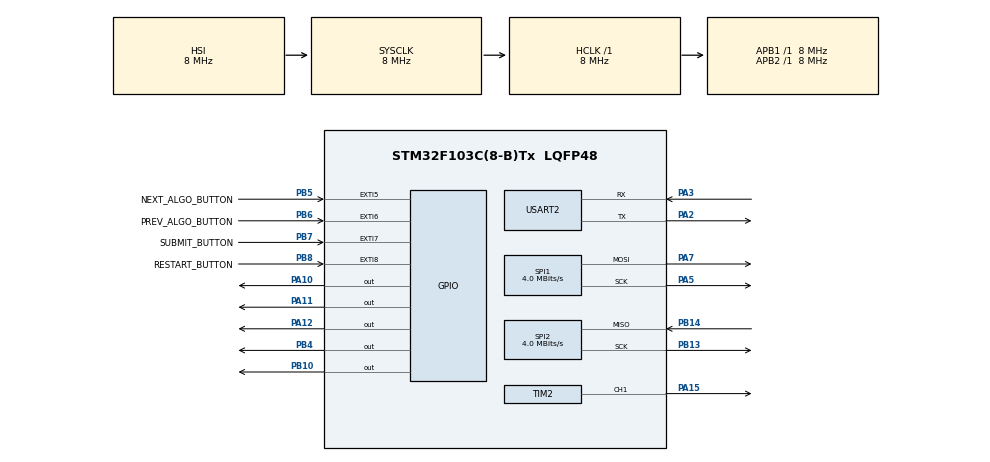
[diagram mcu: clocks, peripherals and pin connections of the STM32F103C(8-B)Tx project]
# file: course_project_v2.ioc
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FATFS._FS_LOCK=0
FATFS._FS_READONLY=1
FATFS._STRF_ENCODE=0
FATFS._USE_FASTSEEK=0
FATFS._USE_MKFS=0
Mcu.Family=STM32F1
Mcu.Name=STM32F103C(8-B)Tx
Mcu.Package=LQFP48
NVIC.EXTI9_5_IRQn=true\:0\:0\:true\:false\:true\:true\:true\:true
NVIC.PriorityGroup=NVIC_PRIORITYGROUP_4
NVIC.USART2_IRQn=true\:0\:0\:false\:false\:true\:true\:true\:true
PA10.Signal=GPIO_Output
PA11.Signal=GPIO_Output
PA12.Signal=GPIO_Output
PA15.Signal=S_TIM2_CH1_ETR
PA2.Mode=Asynchronous
PA2.Signal=USART2_TX
PA3.Mode=Asynchronous
PA3.Signal=USART2_RX
PA5.Mode=TX_Only_Simplex_Unidirect_Master
PA5.Signal=SPI1_SCK
PA7.Mode=TX_Only_Simplex_Unidirect_Master
PA7.Signal=SPI1_MOSI
PB10.Signal=GPIO_Output
PB13.Mode=RX_Only_Simplex_Unidirect_Master
PB13.Signal=SPI2_SCK
PB14.Mode=RX_Only_Simplex_Unidirect_Master
PB14.Signal=SPI2_MISO
PB4.Signal=GPIO_Output
PB5.GPIO_Label=NEXT_ALGO_BUTTON
PB5.GPIO_ModeDefaultEXTI=GPIO_MODE_IT_FALLING
PB5.GPIO_PuPd=GPIO_PULLUP
PB5.Signal=GPXTI5
PB6.GPIO_Label=PREV_ALGO_BUTTON
PB6.GPIO_ModeDefaultEXTI=GPIO_MODE_IT_FALLING
PB6.GPIO_PuPd=GPIO_PULLUP
PB6.Signal=GPXTI6
PB7.GPIO_Label=SUBMIT_BUTTON
PB7.GPIO_ModeDefaultEXTI=GPIO_MODE_IT_FALLING
PB7.GPIO_PuPd=GPIO_PULLUP
PB7.Signal=GPXTI7
PB8.GPIO_Label=RESTART_BUTTON
PB8.GPIO_ModeDefaultEXTI=GPIO_MODE_IT_FALLING
PB8.GPIO_PuPd=GPIO_PULLUP
PB8.Signal=GPXTI8
ProjectManager.HeapSize=0x200
ProjectManager.StackSize=0x400
ProjectManager.TargetToolchain=STM32CubeIDE
RCC.AHBFreq_Value=8000000
RCC.APB1Freq_Value=8000000
RCC.APB1TimFreq_Value=8000000
RCC.APB2Freq_Value=8000000
RCC.APB2TimFreq_Value=8000000
RCC.DATA_CACHE_ENABLE=1
RCC.HCLKFreq_Value=8000000
RCC.INSTRUCTION_CACHE_ENABLE=1
RCC.PLLMUL=RCC_PLL_MUL6
RCC.PWR_Regulator_Voltage_Scale=PWR_REGULATOR_VOLTAGE_SCALE2
RCC.RCC_TIM_PRescaler_Selection=RCC_TIMPRES_DESACTIVATED
RCC.SYSCLKFreq_VALUE=8000000
RCC.USBFreq_Value=24000000
SH.S_TIM2_CH1_ETR.0=TIM2_CH1,PWM Generation1 CH1
SPI1.BaudRatePrescaler=SPI_BAUDRATEPRESCALER_2
SPI1.CLKPolarity=SPI_POLARITY_LOW
SPI1.CalculateBaudRate=4.0 MBits/s
SPI1.Direction=SPI_DIRECTION_2LINES
SPI1.Mode=SPI_MODE_MASTER
SPI1.VirtualType=VM_MASTER
SPI2.CalculateBaudRate=4.0 MBits/s
SPI2.Direction=SPI_DIRECTION_2LINES_RXONLY
SPI2.Mode=SPI_MODE_MASTER
SPI2.VirtualType=VM_MASTER
TIM2.AutoReloadPreload=TIM_AUTORELOAD_PRELOAD_ENABLE
TIM2.Channel-PWM\ Generation1\ CH1=TIM_CHANNEL_1
TIM2.Period=127
TIM2.Prescaler=127
TIM2.Pulse-PWM\ Generation1\ CH1=63
USART2.VirtualMode=VM_ASYNC
VP_CRC_VS_CRC.Mode=CRC_Activate
VP_FATFS_VS_Generic.Mode=User_defined
VP_SYS_VS_ND.Mode=No_Debug
VP_TIM2_VS_ClockSourceINT.Mode=Internal
board=custom

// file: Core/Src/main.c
/* USER CODE BEGIN Header */
/**
  ******************************************************************************
  * @file           : main.c
  * @brief          : Main program body
  ******************************************************************************
  * @attention
  *
  * Copyright (c) 2023 STMicroelectronics.
  * All rights reserved.
  *
  * This software is licensed under terms that can be found in the LICENSE file
  * in the root directory of this software component.
  * If no LICENSE file comes with this software, it is provided AS-IS.
  *
  ******************************************************************************
  */
/* USER CODE END Header */
#include "main.h"
#include "fatfs.h"

/* USER CODE BEGIN Includes */
#include "State/state.h"
/* USER CODE END Includes */

CRC_HandleTypeDef hcrc;

SPI_HandleTypeDef hspi1;
SPI_HandleTypeDef hspi2;

TIM_HandleTypeDef htim2;

UART_HandleTypeDef huart2;

/* USER CODE BEGIN PV */
state_info_t* state_info = NULL;
/* USER CODE END PV */

void SystemClock_Config(void);
static void MX_GPIO_Init(void);
static void MX_SPI1_Init(void);
static void MX_USART2_UART_Init(void);
static void MX_SPI2_Init(void);
static void MX_CRC_Init(void);
static void MX_TIM2_Init(void);

int main(void)
{

  /* MCU Configuration--------------------------------------------------------*/

  /* Reset of all peripherals, Initializes the Flash interface and the Systick. */
  HAL_Init();

  /* Configure the system clock */
  SystemClock_Config();

  /* Initialize all configured peripherals */
  MX_GPIO_Init();
  MX_SPI1_Init();
  MX_USART2_UART_Init();
  MX_FATFS_Init();
  MX_SPI2_Init();
  MX_CRC_Init();
  MX_TIM2_Init();
  /* USER CODE BEGIN 2 */
  ST7735_Init();

  state_info = new_state_info();
  state_info->state_request = CHOOSE_ALGO;
  /* USER CODE END 2 */

  /* Infinite loop */
  /* USER CODE BEGIN WHILE */
  while (1)
  {
	  check_state_request(state_info);
	  get_uart_input(state_info);
	  reduce_state_to_action(state_info);
    /* USER CODE END WHILE */

    /* USER CODE BEGIN 3 */
  }
  free_state_info(state_info);
  /* USER CODE END 3 */
}

void SystemClock_Config(void)
{
  RCC_OscInitTypeDef RCC_OscInitStruct = {0};
  RCC_ClkInitTypeDef RCC_ClkInitStruct = {0};

  /** Initializes the RCC Oscillators according to the specified parameters
  * in the RCC_OscInitTypeDef structure.
  */
  RCC_OscInitStruct.OscillatorType = RCC_OSCILLATORTYPE_HSI;
  RCC_OscInitStruct.HSIState = RCC_HSI_ON;
  RCC_OscInitStruct.HSICalibrationValue = RCC_HSICALIBRATION_DEFAULT;
  RCC_OscInitStruct.PLL.PLLState = RCC_PLL_NONE;
  if (HAL_RCC_OscConfig(&RCC_OscInitStruct) != HAL_OK)
  {
    Error_Handler();
  }

  /** Initializes the CPU, AHB and APB buses clocks
  */
  RCC_ClkInitStruct.ClockType = RCC_CLOCKTYPE_HCLK|RCC_CLOCKTYPE_SYSCLK
                              |RCC_CLOCKTYPE_PCLK1|RCC_CLOCKTYPE_PCLK2;
  RCC_ClkInitStruct.SYSCLKSource = RCC_SYSCLKSOURCE_HSI;
  RCC_ClkInitStruct.AHBCLKDivider = RCC_SYSCLK_DIV1;
  RCC_ClkInitStruct.APB1CLKDivider = RCC_HCLK_DIV1;
  RCC_ClkInitStruct.APB2CLKDivider = RCC_HCLK_DIV1;

  if (HAL_RCC_ClockConfig(&RCC_ClkInitStruct, FLASH_LATENCY_0) != HAL_OK)
  {
    Error_Handler();
  }
}

static void MX_CRC_Init(void)
{

  hcrc.Instance = CRC;
  if (HAL_CRC_Init(&hcrc) != HAL_OK)
  {
    Error_Handler();
  }

}

static void MX_SPI1_Init(void)
{

  /* SPI1 parameter configuration*/
  hspi1.Instance = SPI1;
  hspi1.Init.Mode = SPI_MODE_MASTER;
  hspi1.Init.Direction = SPI_DIRECTION_2LINES;
  hspi1.Init.DataSize = SPI_DATASIZE_8BIT;
  hspi1.Init.CLKPolarity = SPI_POLARITY_LOW;
  hspi1.Init.CLKPhase = SPI_PHASE_1EDGE;
  hspi1.Init.NSS = SPI_NSS_SOFT;
  hspi1.Init.BaudRatePrescaler = SPI_BAUDRATEPRESCALER_2;
  hspi1.Init.FirstBit = SPI_FIRSTBIT_MSB;
  hspi1.Init.TIMode = SPI_TIMODE_DISABLE;
  hspi1.Init.CRCCalculation = SPI_CRCCALCULATION_DISABLE;
  hspi1.Init.CRCPolynomial = 10;
  if (HAL_SPI_Init(&hspi1) != HAL_OK)
  {
    Error_Handler();
  }

}

static void MX_SPI2_Init(void)
{

  /* SPI2 parameter configuration*/
  hspi2.Instance = SPI2;
  hspi2.Init.Mode = SPI_MODE_MASTER;
  hspi2.Init.Direction = SPI_DIRECTION_2LINES_RXONLY;
  hspi2.Init.DataSize = SPI_DATASIZE_8BIT;
  hspi2.Init.CLKPolarity = SPI_POLARITY_LOW;
  hspi2.Init.CLKPhase = SPI_PHASE_1EDGE;
  hspi2.Init.NSS = SPI_NSS_SOFT;
  hspi2.Init.BaudRatePrescaler = SPI_BAUDRATEPRESCALER_2;
  hspi2.Init.FirstBit = SPI_FIRSTBIT_MSB;
  hspi2.Init.TIMode = SPI_TIMODE_DISABLE;
  hspi2.Init.CRCCalculation = SPI_CRCCALCULATION_DISABLE;
  hspi2.Init.CRCPolynomial = 10;
  if (HAL_SPI_Init(&hspi2) != HAL_OK)
  {
    Error_Handler();
  }

}

static void MX_TIM2_Init(void)
{

  TIM_ClockConfigTypeDef sClockSourceConfig = {0};
  TIM_MasterConfigTypeDef sMasterConfig = {0};
  TIM_OC_InitTypeDef sConfigOC = {0};

  htim2.Instance = TIM2;
  htim2.Init.Prescaler = 127;
  htim2.Init.CounterMode = TIM_COUNTERMODE_UP;
  htim2.Init.Period = 127;
  htim2.Init.ClockDivision = TIM_CLOCKDIVISION_DIV1;
  htim2.Init.AutoReloadPreload = TIM_AUTORELOAD_PRELOAD_ENABLE;
  if (HAL_TIM_Base_Init(&htim2) != HAL_OK)
  {
    Error_Handler();
  }
  sClockSourceConfig.ClockSource = TIM_CLOCKSOURCE_INTERNAL;
  if (HAL_TIM_ConfigClockSource(&htim2, &sClockSourceConfig) != HAL_OK)
  {
    Error_Handler();
  }
  if (HAL_TIM_PWM_Init(&htim2) != HAL_OK)
  {
    Error_Handler();
  }
  sMasterConfig.MasterOutputTrigger = TIM_TRGO_RESET;
  sMasterConfig.MasterSlaveMode = TIM_MASTERSLAVEMODE_DISABLE;
  if (HAL_TIMEx_MasterConfigSynchronization(&htim2, &sMasterConfig) != HAL_OK)
  {
    Error_Handler();
  }
  sConfigOC.OCMode = TIM_OCMODE_PWM1;
  sConfigOC.Pulse = 63;
  sConfigOC.OCPolarity = TIM_OCPOLARITY_HIGH;
  sConfigOC.OCFastMode = TIM_OCFAST_DISABLE;
  if (HAL_TIM_PWM_ConfigChannel(&htim2, &sConfigOC, TIM_CHANNEL_1) != HAL_OK)
  {
    Error_Handler();
  }
  HAL_TIM_MspPostInit(&htim2);

}

static void MX_USART2_UART_Init(void)
{

  huart2.Instance = USART2;
  huart2.Init.BaudRate = 115200;
  huart2.Init.WordLength = UART_WORDLENGTH_8B;
  huart2.Init.StopBits = UART_STOPBITS_1;
  huart2.Init.Parity = UART_PARITY_NONE;
  huart2.Init.Mode = UART_MODE_TX_RX;
  huart2.Init.HwFlowCtl = UART_HWCONTROL_NONE;
  huart2.Init.OverSampling = UART_OVERSAMPLING_16;
  if (HAL_UART_Init(&huart2) != HAL_OK)
  {
    Error_Handler();
  }

}

static void MX_GPIO_Init(void)
{
  GPIO_InitTypeDef GPIO_InitStruct = {0};

  /* GPIO Ports Clock Enable */
  __HAL_RCC_GPIOA_CLK_ENABLE();
  __HAL_RCC_GPIOB_CLK_ENABLE();

  /*Configure GPIO pin Output Level */
  HAL_GPIO_WritePin(GPIOB, GPIO_PIN_10|GPIO_PIN_4, GPIO_PIN_RESET);

  /*Configure GPIO pin Output Level */
  HAL_GPIO_WritePin(GPIOA, GPIO_PIN_10|GPIO_PIN_11|GPIO_PIN_12, GPIO_PIN_RESET);

  /*Configure GPIO pins : PB10 PB4 */
  GPIO_InitStruct.Pin = GPIO_PIN_10|GPIO_PIN_4;
  GPIO_InitStruct.Mode = GPIO_MODE_OUTPUT_PP;
  GPIO_InitStruct.Pull = GPIO_NOPULL;
  GPIO_InitStruct.Speed = GPIO_SPEED_FREQ_LOW;
  HAL_GPIO_Init(GPIOB, &GPIO_InitStruct);

  /*Configure GPIO pins : PA10 PA11 PA12 */
  GPIO_InitStruct.Pin = GPIO_PIN_10|GPIO_PIN_11|GPIO_PIN_12;
  GPIO_InitStruct.Mode = GPIO_MODE_OUTPUT_PP;
  GPIO_InitStruct.Pull = GPIO_NOPULL;
  GPIO_InitStruct.Speed = GPIO_SPEED_FREQ_LOW;
  HAL_GPIO_Init(GPIOA, &GPIO_InitStruct);

  /*Configure GPIO pins : NEXT_ALGO_BUTTON_Pin PREV_ALGO_BUTTON_Pin SUBMIT_BUTTON_Pin RESTART_BUTTON_Pin */
  GPIO_InitStruct.Pin = NEXT_ALGO_BUTTON_Pin|PREV_ALGO_BUTTON_Pin|SUBMIT_BUTTON_Pin|RESTART_BUTTON_Pin;
  GPIO_InitStruct.Mode = GPIO_MODE_IT_FALLING;
  GPIO_InitStruct.Pull = GPIO_PULLUP;
  HAL_GPIO_Init(GPIOB, &GPIO_InitStruct);

  /* EXTI interrupt init*/
  HAL_NVIC_SetPriority(EXTI9_5_IRQn, 0, 0);
  HAL_NVIC_EnableIRQ(EXTI9_5_IRQn);

}

/* USER CODE BEGIN 4 */
void HAL_GPIO_EXTI_Callback(uint16_t GPIO_Pin)
{
	if (GPIO_Pin == RESTART_BUTTON_Pin) {
		print_uart_message("Program restart\r");
		state_info->state_request = RESTART_INTENT;
		return;
	}

	if (state_info->current_state != CHOOSE_ALGO) {
		return;
	}

	switch (GPIO_Pin) {
	case NEXT_ALGO_BUTTON_Pin:
		set_next_algo(state_info);
		break;
	case PREV_ALGO_BUTTON_Pin:
		set_prev_algo(state_info);
		break;
	case SUBMIT_BUTTON_Pin:
		HAL_UART_AbortReceive(&huart2);
		state_info->state_request = ENTER_SUM;
		break;
	default:
		print_uart_message("this shouldn't happen\r");
		break;
	}
}

void HAL_UART_RxCpltCallback(UART_HandleTypeDef *huart){
	if (state_info->current_state == ENTER_SUM) {
		strcpy(state_info->reference_checksum, state_info->uart_buffer);
		format_reference_checksum(state_info);
		clear_buffer(state_info->uart_buffer, DEFAULT_BUFFER_SIZE);
		state_info->state_request = EXECUTE;
	} else if (state_info->current_state == CHOOSE_ALGO) {
		if (strcmp(state_info->uart_buffer, "NEXT\r") == 0) {
			set_next_algo(state_info);
		} else if (strcmp(state_info->uart_buffer, "PREV\r") == 0) {
			set_prev_algo(state_info);
		}
		print_uart_message(CHOOSE_ALGO_MSG);
	}
}
/* USER CODE END 4 */

void Error_Handler(void)
{
  __disable_irq();
  while (1)
  {
  }
}
